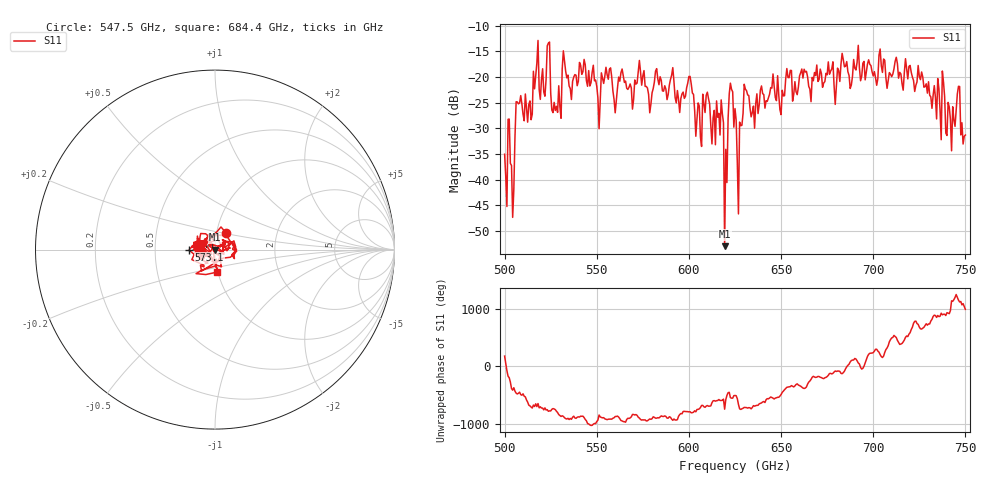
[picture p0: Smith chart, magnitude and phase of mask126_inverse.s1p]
!Created with skrf (http://scikit-rf.org).
# GHz S MA R 50.0
!freq magS11 angS11
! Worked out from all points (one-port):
!   401 points, 500 GHz to 750 GHz, reference 50 ohm
!   lowest |S11| = -53.0 dB at 619.4 GHz (marker M1), VSWR 1.00, Z = 50.2 - j0.0919 ohm
!   |S11| at or under -10 dB: start of sweep to end of sweep
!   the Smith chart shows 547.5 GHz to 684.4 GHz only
!   S11 on the Smith chart (normalised r, x): 547.5 GHz: 1.11, +0.21; 573.1 GHz: 0.75, -0.00; 684.4 GHz: 0.99, -0.25
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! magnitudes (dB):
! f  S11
! 500 GHz  -35.1
! 504.4 GHz  -47.4
! 507.5 GHz  -25.2
! 513.8 GHz  -24.7
! 516.9 GHz  -19.7
! 520.6 GHz  -18.4
! 523.8 GHz  -13.4
! 526.9 GHz  -24.9
! 531.2 GHz  -18.4
! 547.5 GHz  -19.1
! 562.5 GHz  -20.8
! 573.1 GHz  -16.8
! 593.8 GHz  -22.6
! 600 GHz  -19.9
! 616.2 GHz  -27.1
! 619.4 GHz  -53.0
! 622.5 GHz  -21.2
! 625 GHz  -26.2
! 627.5 GHz  -28.8
! 631.2 GHz  -22.7
! 634.4 GHz  -27.0
! 656.2 GHz  -24.7
! 684.4 GHz  -18.0
! 687.5 GHz  -22.2
! 718.8 GHz  -20.4
! 741.2 GHz  -25.8
! 745.6 GHz  -23.3
! 750 GHz  -31.3
